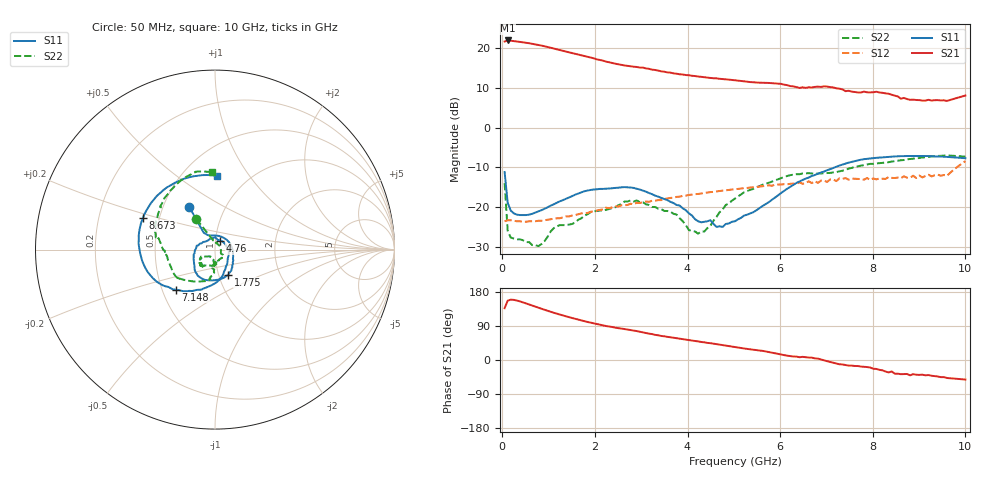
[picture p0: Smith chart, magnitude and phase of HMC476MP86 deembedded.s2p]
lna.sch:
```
<Qucs Schematic 0.0.18>
<Properties>
  <View=-24,-50,805,970,0.951042,72,60>
  <Grid=10,10,1>
  <DataSet=lna.dat>
  <DataDisplay=lna.dpl>
  <OpenDisplay=1>
  <Script=lna.m>
  <RunScript=0>
  <showFrame=0>
  <FrameText0=Title>
  <FrameText1=Drawn By:>
  <FrameText2=Date:>
  <FrameText3=Revision:>
</Properties>
<Symbol>
</Symbol>
<Components>
  <GND * 1 310 470 0 0 0 0>
  <SPfile X1 1 310 360 -26 -53 0 0 "/home/kleinjt/repos/em_probes/simulations/amp/s2p/HMC476MP86 deembedded.s2p" 1 "rectangular" 0 "linear" 0 "open" 0 "2" 0>
  <.SP SP1 1 130 540 0 76 0 0 "log" 1 "50MHz" 1 "6GHz" 1 "834" 1 "no" 0 "1" 0 "2" 0 "no" 0 "no" 0>
  <Pac P1 1 30 440 18 -26 0 1 "1" 1 "50 Ohm" 1 "0 dBm" 0 "1 GHz" 0 "26.85" 0>
  <GND * 1 30 490 0 0 0 0>
  <Pac P2 1 620 430 18 -26 0 1 "2" 1 "50 Ohm" 1 "0 dBm" 0 "1 GHz" 0 "26.85" 0>
  <GND * 1 620 460 0 0 0 0>
  <C C2 1 100 360 -26 17 0 0 "1000 pF" 1 "" 0 "neutral" 0>
  <C C4 1 360 100 17 -26 0 1 ".1 uF" 1 "" 0 "neutral" 0>
  <GND * 1 360 160 0 0 0 0>
  <Eqn Eqn1 1 330 550 -28 15 0 0 "dBS21=dB(S[2,1])" 1 "mu=Mu(S)" 1 "mu2=Mu2(S)" 1 "dBS11=dB(S[1,1])" 1 "dBS22=dB(S[2,2])" 1 "yes" 0>
  <C C3 1 520 360 -26 17 0 0 "100 pF" 1 "" 0 "neutral" 0>
  <L L2 1 436 162 10 -26 0 1 "22 nH" 1 "" 0>
  <R R1 1 370 240 -26 15 0 0 "1k" 1 "26.85" 0 "0.0" 0 "0.0" 0 "26.85" 0 "european" 0>
  <C C1 1 200 240 -26 17 0 0 "100 nF" 1 "" 0 "neutral" 0>
  <L L3 1 270 230 -26 10 0 0 "2 nH" 1 "" 0>
</Components>
<Wires>
  <310 390 310 470 "" 0 0 0 "">
  <340 360 440 360 "" 0 0 0 "">
  <30 470 30 490 "" 0 0 0 "">
  <130 360 170 360 "" 0 0 0 "">
  <30 360 30 410 "" 0 0 0 "">
  <30 360 70 360 "" 0 0 0 "">
  <440 360 490 360 "" 0 0 0 "">
  <620 360 620 400 "" 0 0 0 "">
  <550 360 620 360 "" 0 0 0 "">
  <360 130 360 160 "" 0 0 0 "">
  <360 30 360 70 "" 0 0 0 "">
  <360 30 436 30 "" 0 0 0 "">
  <436 30 436 132 "" 0 0 0 "">
  <440 192 440 240 "" 0 0 0 "">
  <436 192 440 192 "" 0 0 0 "">
  <440 240 440 360 "" 0 0 0 "">
  <400 240 440 240 "" 0 0 0 "">
  <170 360 280 360 "" 0 0 0 "">
  <170 240 170 360 "" 0 0 0 "">
  <300 230 300 240 "" 0 0 0 "">
  <300 240 340 240 "" 0 0 0 "">
  <240 230 240 240 "" 0 0 0 "">
  <230 240 240 240 "" 0 0 0 "">
</Wires>
<Diagrams>
</Diagrams>
<Paintings>
</Paintings>
```
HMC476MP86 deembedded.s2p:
!Hittite Microwave Corporation
!12 Elizabeth Drive
!Chelmsford, MA 01824
!Tel: 978-250-3343
!Fax: 978-250-3373
!Device: HMC476MP86, DC-6 GHz, SiGe HBT Gain Block MMIC Amplifier in Micro-P package
!Misc: Vs = 5V, Room
# MHZ S MA R 50
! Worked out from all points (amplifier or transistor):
!   151 points, 50 MHz to 10 GHz, reference 50 ohm
!   highest |S21| = 22.0 dB at 116.3 MHz (marker M1)
!   |S21| within 3 dB of that: start of sweep to 1.443 GHz
!   unconditionally stable (mu >= 1): 64.11 MHz to 6.58 GHz
!   at 1.708 GHz: K = 1.05, MAG = 18.5 dB, |S12| = -21.6 dB
!   at 5.025 GHz: K = 1.07, MAG = 12.1 dB, |S12| = -15.5 dB
!   at 10 GHz: K = 0.86, MSG = 8.3 dB, |S12| = -8.4 dB
!   S11 on the Smith chart (normalised r, x): 50 MHz: 0.68, +0.35; 1.775 GHz: 1.11, -0.32; 4.76 GHz: 1.05, +0.10; 7.148 GHz: 0.59, -0.29; 8.673 GHz: 0.41, +0.18; 10 GHz: 0.72, +0.71
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50  0.276 121.1  12.25 136.9  0.066 -42.2  0.2 121.3
116.333  0.113 123.8  12.63 156.5  0.068 -17.6  0.05 100.0
249  0.083 108.5  12.4 158.6  0.067 -5.8  0.04 75.4
978.667  0.099 -2.3  10.46 129.8  0.069 13.6  0.042 -35.0
1774.667  0.158 -62.0  8.008 102.4  0.084 23.8  0.078 -93.0
3167.667  0.15 -139.3  5.54 69.5  0.116 24.0  0.106 -140.2
4759.667  0.056 59.8  4.117 39.2  0.161 17.5  0.093 -92.5
5025  0.066 16.3  3.971 34.2  0.167 15.4  0.128 -91.9
7147.667  0.311 -134.1  3.226 -7.0  0.222 -1.7  0.273 -174.1
8673.333  0.438 156.3  2.378 -37.1  0.244 -17.4  0.391 139.0
10000  0.412 88.8  2.549 -51.6  0.379 -29.6  0.431 92.4
